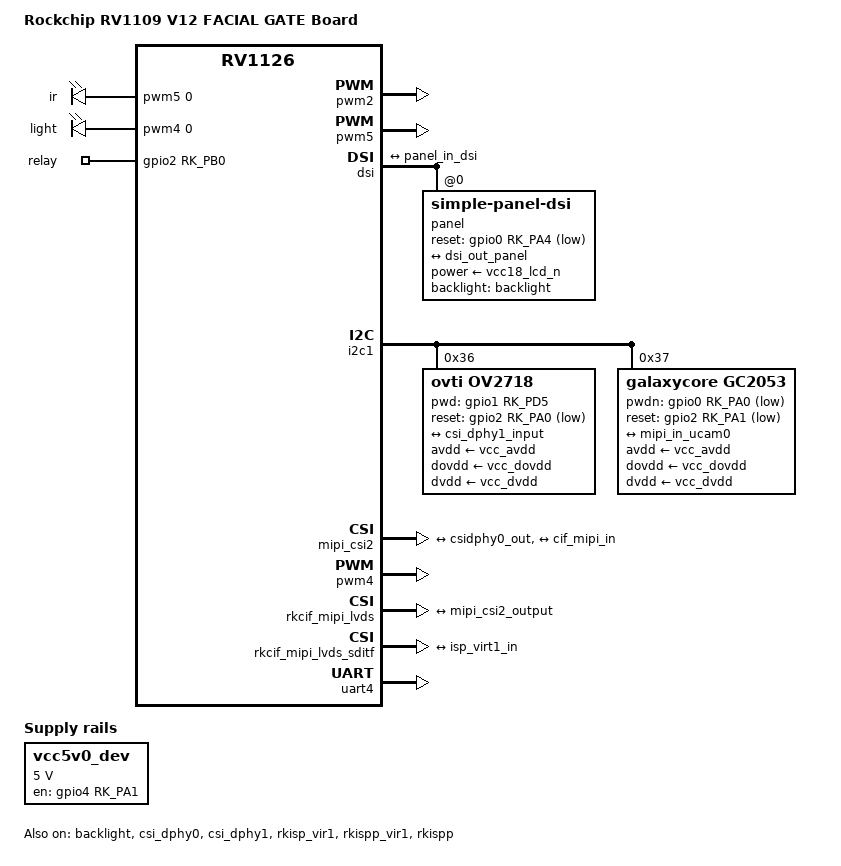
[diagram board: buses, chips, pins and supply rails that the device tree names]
// SPDX-License-Identifier: (GPL-2.0+ OR MIT)
/*
 * Copyright (c) 2020 Rockchip Electronics Co., Ltd.
 */
/dts-v1/;
#include "rv1126.dtsi"
#include "rv1126-evb-v10.dtsi"
/ {
	model = "Rockchip RV1109 V12 FACIAL GATE Board";
	compatible = "rockchip,rv1109-evb-ddr3-v12-facial-gate", "rockchip,rv1126";

	chosen {
		bootargs = "earlycon=uart8250,mmio32,0xff570000 console=ttyFIQ0 root=PARTUUID=614e0000-0000 rootfstype=ext4 rootwait snd_aloop.index=7";
	};

	pwmleds {
		compatible = "pwm-leds";

		pwmi_ir {
			label = "ir";
			pwms = <&pwm5 0 25000 0>;
			max-brightness = <255>;
		};

		pwmi_light {
			label = "light";
			pwms = <&pwm4 0 25000 0>;
			max-brightness = <255>;
		};
	};

    gpio-leds {
        compatible = "gpio-leds";

        relay {
            label = "relay";
            gpios = <&gpio2 RK_PB0 GPIO_ACTIVE_HIGH>;
        };
    };

	vcc5v0_dev: vcc5v0-dev {
		compatible = "regulator-fixed";
		regulator-name = "vcc5v0_dev";
		gpio = <&gpio4 RK_PA1 GPIO_ACTIVE_HIGH>;
		enable-active-high;
		regulator-always-on;
		regulator-boot-on;
		regulator-min-microvolt = <5000000>;
		regulator-max-microvolt = <5000000>;
	};
};

&pinctrl {
    lcd_rst {
        lcd_rst_gpio: lcd-rst-gpio {
            rockchip,pins = <0 RK_PA4 RK_FUNC_GPIO &pcfg_pull_none>;
        };
    };

    dev_pwr {
        dev_pwr_en: dev-pwr-en {
            rockchip,pins = <4 RK_PA1 RK_FUNC_GPIO &pcfg_pull_none>;
        };
    };
};

&pwm2 {
	status = "okay";
};

&pwm5 {
	status = "okay";
	pinctrl-names = "active";
	pinctrl-0 = <&pwm5m0_pins_pull_down>;
};

&backlight {
    pwms = <&pwm2 0 25000 0>;
	status = "okay";
};

&vcc18_lcd_n {
    gpio = <&gpio1 RK_PD0 GPIO_ACTIVE_HIGH>;
    vin-supply = <&vcc3v3_sys>;
};

&dsi {
	status = "okay";

	rockchip,lane-rate = <480>;
	panel@0 {
		compatible = "simple-panel-dsi";
		reg = <0>;
		backlight = <&backlight>;
		power-supply = <&vcc18_lcd_n>;
		prepare-delay-ms = <5>;
		reset-delay-ms = <1>;
		init-delay-ms = <80>;
		disable-delay-ms = <10>;
		unprepare-delay-ms = <5>;

        reset-gpios = <&gpio0 RK_PA4 GPIO_ACTIVE_LOW>;
        pinctrl-names = "default";
        pinctrl-0 = <&lcd_rst_gpio>;

		width-mm = <107>;
		height-mm = <172>;

		dsi,flags = <(MIPI_DSI_MODE_VIDEO | MIPI_DSI_MODE_VIDEO_BURST |
			      MIPI_DSI_MODE_LPM | MIPI_DSI_MODE_EOT_PACKET)>;
		dsi,format = <MIPI_DSI_FMT_RGB888>;
		dsi,lanes = <4>;

		panel-init-sequence = [
			39 01 04 b9 ff 83 94
            39 00 11 BA 13 82 00 16 C5 00 10 FF 0F 24 03 21 24 25 20 08
			39 00 12 b1 01 00 04 c4 03 12 f1 24 2c 3f 3f 47 02 00 e6 e2 a6
			39 00 07 b2 00 c8 0e 30 00 81
			39 00 20 b4 80 04 32 10 08 54 15 0f 22 10 08 47 43 44 0a 4b 43 44 02 55 55 02 06 44 06 5f 0a 6b 70 05 08
			15 00 02 b6 45
			39 00 37 d5 00 00 00 00 0a 00 01 22 00 22 66 11 01 01 23 45 67 9a bc aa bb 45 88 88 88 88 88 88 88 67 88 88 08 81 29 83 88 08 48 81 85 28 68 83 87 88 48 85 00 00 00 00 3c 01
            15 00 02 cc 09
			39 00 05 bf 06 02 10 04
			39 00 05 c7 00 10 00 10
			39 00 2b e0 00 08 0e 30 34 3f 1c 39 06 0c 0e 11 14 12 14 11 18 00 18 0e 30 34 3f 1c 39 06 0c 0e 11 14 12 14 11 18 0b 17 07 12 0b 17 07 12
			39 00 03 c0 0c 17
			39 00 03 c6 08 08
			15 00 02 d4 32
			15 00 02 BA 03
            05 00 01 11
            05 C8 01 29
		];

		display-timings {
			native-mode = <&timing0>;

			timing0: timing0 {
				clock-frequency = <75000000>;
				hactive = <800>;
				vactive = <1280>;
				hfront-porch = <70>;
				hsync-len = <20>;
				hback-porch = <64>;
				vfront-porch = <9>;
				vsync-len = <2>;
				vback-porch = <16>;
				hsync-active = <0>;
				vsync-active = <0>;
				de-active = <0>;
				pixelclk-active = <0>;
			};
		};

		ports {
			#address-cells = <1>;
			#size-cells = <0>;

			port@0 {
				reg = <0>;
				panel_in_dsi: endpoint {
					remote-endpoint = <&dsi_out_panel>;
				};
			};
		};
	};

	ports {
		#address-cells = <1>;
		#size-cells = <0>;

		port@1 {
			reg = <1>;
			dsi_out_panel: endpoint {
				remote-endpoint = <&panel_in_dsi>;
			};
		};
	};
};

&csi_dphy0 {
	status = "okay";
	ports {
		port@0 {
			mipi_in_ucam0: endpoint@1 {
				remote-endpoint = <&ucam_out0>;
				data-lanes = <1 2>;
			};
		};
		port@1 {
			csidphy0_out: endpoint@0 {
				remote-endpoint = <&mipi_csi2_input>;
				data-lanes = <1 2>;
			};
		};
	};
};

&csi_dphy1 {
	status = "okay";
	ports {
		port@0 {
			csi_dphy1_input: endpoint@1 {
				remote-endpoint = <&ucam_out1>;
				data-lanes = <1 2>;
			};
		};
		port@1 {
			csi_dphy1_output: endpoint@0 {
				remote-endpoint = <&isp_in>;
				data-lanes = <1 2>;
			};
		};
	};
};

&i2c1 {
	/delete-node/ ar0230@10;
	/delete-node/ ov4689@36;
	/delete-node/ os04a10@36;
	ov2718: ov2718@36 {
		compatible = "ovti,ov2718";
		reg = <0x36>;
		clocks = <&cru CLK_MIPICSI_OUT>;
		clock-names = "xvclk";
		power-domains = <&power RV1126_PD_VI>;
		pinctrl-names = "rockchip,camera_default";
		pinctrl-0 = <&mipicsi_clk1>;
		avdd-supply = <&vcc_avdd>;
		dovdd-supply = <&vcc_dovdd>;
		dvdd-supply = <&vcc_dvdd>;
		pwd-gpios = <&gpio1 RK_PD5 GPIO_ACTIVE_HIGH>;
		reset-gpios = <&gpio2 RK_PA0 GPIO_ACTIVE_LOW>;
		rockchip,camera-module-index = <1>;
		rockchip,camera-module-facing = "front";
		rockchip,camera-module-name = "YT-RV1109-3-V1";
		rockchip,camera-module-lens-name = "M43-4IR-2MP-F2";
		ir-cut = <&cam_ircut0>;
		port {
			ucam_out1: endpoint {
				remote-endpoint = <&csi_dphy1_input>;
				data-lanes = <1 2>;
			};
		};
	};

	gc2053: gc2053@37 {
		compatible = "galaxycore,gc2053";
		reg = <0x37>;

		clocks = <&cru CLK_MIPICSI_OUT>;
		clock-names = "xvclk";

		power-domains = <&power RV1126_PD_VI>;
		pinctrl-names = "rockchip,camera_default";
		pinctrl-0 = <&mipicsi_clk0>;
		pwdn-gpios = <&gpio0 RK_PA0 GPIO_ACTIVE_LOW>;
		reset-gpios = <&gpio2 RK_PA1 GPIO_ACTIVE_LOW>;

		avdd-supply = <&vcc_avdd>;
		dovdd-supply = <&vcc_dovdd>;
		dvdd-supply = <&vcc_dvdd>;

		rockchip,camera-module-index = <0>;
		rockchip,camera-module-facing = "front";
		rockchip,camera-module-name = "YT-RV1109-2-V1";
		rockchip,camera-module-lens-name = "40IR-2MP-F20";
		port {
			ucam_out0: endpoint {
				remote-endpoint = <&mipi_in_ucam0>;
				data-lanes = <1 2>;
			};
		};
	};
};

&i2c5 {
    status = "disable";
};

/* isp cma buffer don't fiddle with it, dual camera(1920 * 1080) need 92M buffer */
&isp_reserved {
    size = <0x20000000>;
};

&mipi_csi2 {
	status = "okay";
	ports {
		port@0 {
			mipi_csi2_input: endpoint@1 {
				remote-endpoint = <&csidphy0_out>;
				data-lanes = <1 2>;
			};
		};

		port@1 {
			mipi_csi2_output: endpoint@0 {
				remote-endpoint = <&cif_mipi_in>;
				data-lanes = <1 2>;
			};
		};
	};
};

&pwm4 {
	status = "okay";
	pinctrl-names = "active";
	pinctrl-0 = <&pwm4m0_pins_pull_down>;
};

&rk809 {
	regulators {
		vcc_dvdd: LDO_REG6 {
			regulator-min-microvolt = <1300000>;
			regulator-max-microvolt = <1300000>;
		};

		vcc_avdd: LDO_REG7 {
			regulator-min-microvolt = <3300000>;
			regulator-max-microvolt = <3300000>;
		};
	};
};

&rkcif_mipi_lvds {
	status = "okay";
	port {
		cif_mipi_in: endpoint {
			remote-endpoint = <&mipi_csi2_output>;
			data-lanes = <1 2>;
		};
	};
};

&rkcif_mipi_lvds_sditf {
	status = "okay";

	port {
		cif_sditf: endpoint {
			remote-endpoint = <&isp_virt1_in>;
			data-lanes = <1 2 3 4>;
		};
	};
};

&rkisp_vir0 {
	ports {
		port@0 {
			isp_in: endpoint@0 {
				remote-endpoint = <&csi_dphy1_output>;
			};
		};
	};
};

&rkisp_vir1 {
	status = "okay";
	ports {
		port@0 {
			reg = <0>;
			#address-cells = <1>;
			#size-cells = <0>;

			isp_virt1_in: endpoint@0 {
				reg = <0>;
				remote-endpoint = <&cif_sditf>;
			};
		};
	};
};

&rkispp_vir1 {
	status = "okay";
};

&rkispp {
	status = "okay";
	/* the max input w h and fps of mulit sensor */
	max-input = <1920 1080 30>;
};

&uart4 {
    status = "okay";
    pinctrl-names = "default";
    pinctrl-0 = <&uart4m1_xfer>;
};

